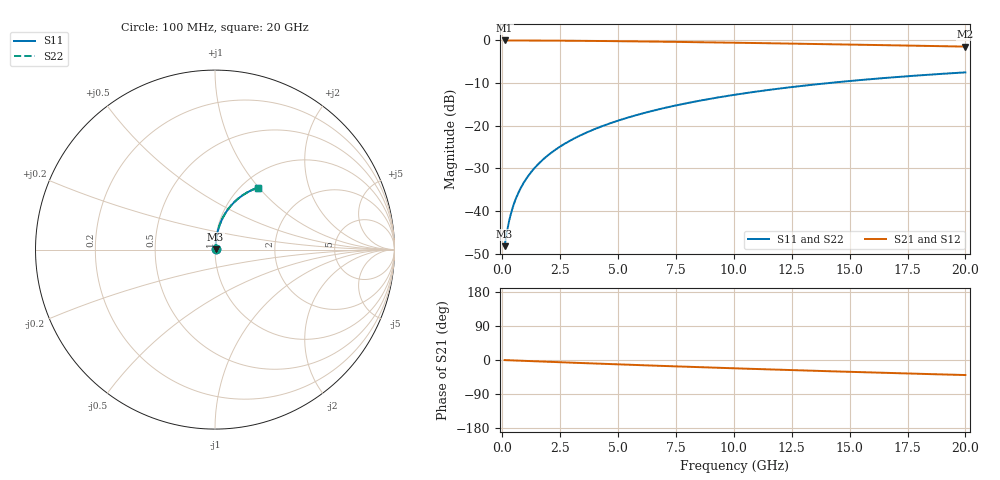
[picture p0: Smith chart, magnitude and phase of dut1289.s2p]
! Touchstone file exported from HFSS 2024.1.0
!  File:  C:/UserFiles/LocalFiles/RDL_TSV_Batchsim/temp_RDL_bottom_1289_1780246966.aedt
!  Generated:  01:05:27 AM Jun  1, 2026
!  Design:  RDL_bottom
!  Project:  temp_RDL_bottom_1289_1780246966
!  Setup:  Setup1
!  Solution:  Sweep
! Variables:
!  dtsv = 10.80580581um
!  hbump = 3um
!  htsv = 58.2um
!  ldown = 515.19um
!  lrdl = 100um
!  p = 40
!  p1 = 54.18um
!  rhole = 1um
!  t = 450um
!  tdown = 3.6um
!  trdl = 3.915915916um
!  wdown = 17.43um
!  wrdl = 20um
# GHz S MA R 50.000000
! Terminal data exported
! Port[1] = RDL1_T1
! Port[2] = RDL1_T2
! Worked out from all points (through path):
!   200 points, 100 MHz to 20 GHz, reference 50 ohm
!   highest |S21| = -0.03 dB at 100 MHz (marker M1); lowest = -1.5 dB at 20 GHz (marker M2)
!   group delay of S21, straight-line fit = 5.49 ps
!   lowest |S11| = -48.2 dB at 100 MHz (marker M3), VSWR 1.01, Z = 50.3 + j0.242 ohm
!   |S11| at or under -10 dB: start of sweep to 14.09 GHz
!   |S22| runs from -48.2 to -7.5 dB; largest |S21 - S12| = 2.2e-15
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0.1  0.003889 38.1  0.9969 -0.2  0.9969 -0.2  0.003889 38.1
! Gamma 0 0 0 0
! Port Impedance 50 0 50 0
0.2  0.005716 56.5  0.9968 -0.5  0.9968 -0.5  0.005716 56.5
0.3  0.007801 65.1  0.9967 -0.7  0.9967 -0.7  0.007801 65.1
0.4  0.009953 70.0  0.9965 -1.0  0.9965 -1.0  0.009953 70.0
0.5  0.01213 73.1  0.9964 -1.2  0.9964 -1.2  0.01213 73.1
0.6  0.01432 75.2  0.9962 -1.4  0.9962 -1.4  0.01432 75.3
0.8  0.01873 78.1  0.9959 -1.9  0.9959 -1.9  0.01873 78.1
1.1  0.0254 80.4  0.9954 -2.6  0.9954 -2.6  0.0254 80.4
1.5  0.03438 81.9  0.9945 -3.6  0.9945 -3.6  0.03438 81.9
1.8  0.04116 82.5  0.9937 -4.3  0.9937 -4.3  0.04116 82.5
2.1  0.04797 82.8  0.9927 -5.0  0.9927 -5.0  0.04797 82.8
2.7  0.06166 82.9  0.9905 -6.3  0.9905 -6.3  0.06166 82.9
3.5  0.08004 82.4  0.9868 -8.2  0.9868 -8.2  0.08005 82.4
4.2  0.09623 81.8  0.9829 -9.7  0.9829 -9.7  0.09624 81.8
5  0.1148 80.8  0.9779 -11.5  0.9779 -11.5  0.1148 80.8
5.9  0.1358 79.5  0.9718 -13.5  0.9718 -13.5  0.1358 79.5
6.8  0.1567 78.1  0.9651 -15.4  0.9651 -15.4  0.1567 78.1
8.4  0.1936 75.4  0.9522 -18.7  0.9522 -18.7  0.1937 75.4
10.1  0.2319 72.4  0.9376 -22.1  0.9376 -22.1  0.232 72.4
13.4  0.3023 66.4  0.9076 -28.3  0.9076 -28.3  0.3024 66.4
16.7  0.3658 60.6  0.8763 -34.2  0.8763 -34.2  0.3659 60.6
20  0.4217 55.0  0.8447 -39.7  0.8447 -39.7  0.4219 55.1
